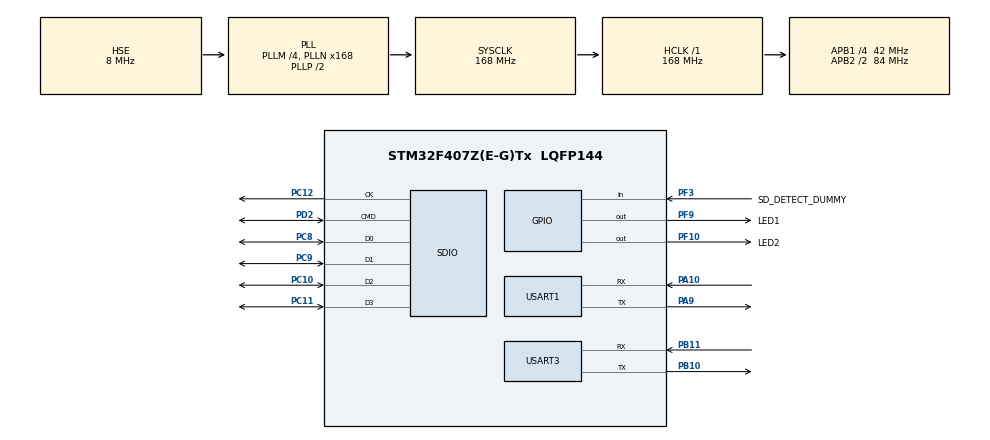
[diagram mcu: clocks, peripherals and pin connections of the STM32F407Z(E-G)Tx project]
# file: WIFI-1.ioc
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Dma.Request0=USART3_RX
Dma.Request1=USART3_TX
Dma.Request2=SDIO_RX
Dma.Request3=SDIO_TX
Dma.SDIO_RX.2.Direction=DMA_PERIPH_TO_MEMORY
Dma.SDIO_RX.2.FIFOMode=DMA_FIFOMODE_ENABLE
Dma.SDIO_RX.2.FIFOThreshold=DMA_FIFO_THRESHOLD_FULL
Dma.SDIO_RX.2.Instance=DMA2_Stream3
Dma.SDIO_RX.2.MemBurst=DMA_MBURST_INC4
Dma.SDIO_RX.2.MemDataAlignment=DMA_MDATAALIGN_WORD
Dma.SDIO_RX.2.MemInc=DMA_MINC_ENABLE
Dma.SDIO_RX.2.Mode=DMA_PFCTRL
Dma.SDIO_RX.2.PeriphBurst=DMA_PBURST_INC4
Dma.SDIO_RX.2.PeriphDataAlignment=DMA_PDATAALIGN_WORD
Dma.SDIO_RX.2.PeriphInc=DMA_PINC_DISABLE
Dma.SDIO_RX.2.Priority=DMA_PRIORITY_HIGH
Dma.SDIO_TX.3.Direction=DMA_MEMORY_TO_PERIPH
Dma.SDIO_TX.3.FIFOMode=DMA_FIFOMODE_ENABLE
Dma.SDIO_TX.3.FIFOThreshold=DMA_FIFO_THRESHOLD_FULL
Dma.SDIO_TX.3.Instance=DMA2_Stream6
Dma.SDIO_TX.3.MemBurst=DMA_MBURST_INC4
Dma.SDIO_TX.3.MemDataAlignment=DMA_MDATAALIGN_WORD
Dma.SDIO_TX.3.MemInc=DMA_MINC_ENABLE
Dma.SDIO_TX.3.Mode=DMA_PFCTRL
Dma.SDIO_TX.3.PeriphBurst=DMA_PBURST_INC4
Dma.SDIO_TX.3.PeriphDataAlignment=DMA_PDATAALIGN_WORD
Dma.SDIO_TX.3.PeriphInc=DMA_PINC_DISABLE
Dma.SDIO_TX.3.Priority=DMA_PRIORITY_HIGH
Dma.USART3_RX.0.Direction=DMA_PERIPH_TO_MEMORY
Dma.USART3_RX.0.FIFOMode=DMA_FIFOMODE_DISABLE
Dma.USART3_RX.0.Instance=DMA1_Stream1
Dma.USART3_RX.0.MemDataAlignment=DMA_MDATAALIGN_BYTE
Dma.USART3_RX.0.MemInc=DMA_MINC_ENABLE
Dma.USART3_RX.0.Mode=DMA_CIRCULAR
Dma.USART3_RX.0.PeriphDataAlignment=DMA_PDATAALIGN_BYTE
Dma.USART3_RX.0.PeriphInc=DMA_PINC_DISABLE
Dma.USART3_RX.0.Priority=DMA_PRIORITY_HIGH
Dma.USART3_TX.1.Direction=DMA_MEMORY_TO_PERIPH
Dma.USART3_TX.1.FIFOMode=DMA_FIFOMODE_DISABLE
Dma.USART3_TX.1.Instance=DMA1_Stream3
Dma.USART3_TX.1.MemDataAlignment=DMA_MDATAALIGN_BYTE
Dma.USART3_TX.1.MemInc=DMA_MINC_ENABLE
Dma.USART3_TX.1.Mode=DMA_NORMAL
Dma.USART3_TX.1.PeriphDataAlignment=DMA_PDATAALIGN_BYTE
Dma.USART3_TX.1.PeriphInc=DMA_PINC_DISABLE
Dma.USART3_TX.1.Priority=DMA_PRIORITY_MEDIUM
FATFS.BSP.number=1
FATFS._FS_REENTRANT=0
FATFS._USE_FASTSEEK=1
FATFS0.BSP.STBoard=false
FATFS0.BSP.api=Unknown
FATFS0.BSP.instance=PF3
FATFS0.BSP.ip=GPIO
FATFS0.BSP.mode=Input
FATFS0.BSP.name=Detect_SDIO
FATFS0.BSP.solution=PF3
FREERTOS.Tasks01=defaultTask,24,2048,StartDefaultTask,Default,NULL,Dynamic,NULL,NULL
Mcu.Family=STM32F4
Mcu.Name=STM32F407Z(E-G)Tx
Mcu.Package=LQFP144
NVIC.DMA1_Stream1_IRQn=true\:5\:0\:false\:false\:true\:true\:false\:true\:true
NVIC.DMA1_Stream3_IRQn=true\:5\:0\:false\:false\:true\:true\:false\:true\:true
NVIC.DMA2_Stream3_IRQn=true\:5\:0\:false\:false\:true\:true\:false\:true\:true
NVIC.DMA2_Stream6_IRQn=true\:5\:0\:false\:false\:true\:true\:false\:true\:true
NVIC.PriorityGroup=NVIC_PRIORITYGROUP_4
NVIC.SDIO_IRQn=true\:5\:0\:false\:false\:true\:true\:true\:true\:true
NVIC.TIM6_DAC_IRQn=true\:15\:0\:false\:false\:true\:false\:false\:true\:true
NVIC.TimeBase=TIM6_DAC_IRQn
NVIC.TimeBaseIP=TIM6
NVIC.USART3_IRQn=true\:5\:0\:false\:false\:true\:true\:true\:true\:true
PA10.Mode=Asynchronous
PA10.Signal=USART1_RX
PA9.Mode=Asynchronous
PA9.Signal=USART1_TX
PB10.Mode=Asynchronous
PB10.Signal=USART3_TX
PB11.Mode=Asynchronous
PB11.Signal=USART3_RX
PC10.Mode=SD_4_bits_Wide_bus
PC10.Signal=SDIO_D2
PC11.Mode=SD_4_bits_Wide_bus
PC11.Signal=SDIO_D3
PC12.Mode=SD_4_bits_Wide_bus
PC12.Signal=SDIO_CK
PC14-OSC32_IN.Mode=LSE-External-Oscillator
PC14-OSC32_IN.Signal=RCC_OSC32_IN
PC15-OSC32_OUT.Mode=LSE-External-Oscillator
PC15-OSC32_OUT.Signal=RCC_OSC32_OUT
PC8.Mode=SD_4_bits_Wide_bus
PC8.Signal=SDIO_D0
PC9.Mode=SD_4_bits_Wide_bus
PC9.Signal=SDIO_D1
PD2.Mode=SD_4_bits_Wide_bus
PD2.Signal=SDIO_CMD
PF10.GPIO_Label=LED2
PF10.GPIO_PuPd=GPIO_PULLUP
PF10.PinState=GPIO_PIN_SET
PF10.Signal=GPIO_Output
PF3.GPIO_Label=SD_DETECT_DUMMY
PF3.Signal=GPIO_Input
PF9.GPIO_Label=LED1
PF9.GPIO_PuPd=GPIO_PULLUP
PF9.PinState=GPIO_PIN_SET
PF9.Signal=GPIO_Output
PH0-OSC_IN.Mode=HSE-External-Oscillator
PH0-OSC_IN.Signal=RCC_OSC_IN
PH1-OSC_OUT.Mode=HSE-External-Oscillator
PH1-OSC_OUT.Signal=RCC_OSC_OUT
ProjectManager.HeapSize=0x200
ProjectManager.StackSize=0x400
ProjectManager.TargetToolchain=MDK-ARM V5.32
RCC.48MHZClocksFreq_Value=48000000
RCC.AHBFreq_Value=168000000
RCC.APB1CLKDivider=RCC_HCLK_DIV4
RCC.APB1Freq_Value=42000000
RCC.APB1TimFreq_Value=84000000
RCC.APB2CLKDivider=RCC_HCLK_DIV2
RCC.APB2Freq_Value=84000000
RCC.APB2TimFreq_Value=168000000
RCC.CortexFreq_Value=168000000
RCC.HCLKFreq_Value=168000000
RCC.HSE_VALUE=8000000
RCC.HSI_VALUE=16000000
RCC.PLLM=4
RCC.PLLN=168
RCC.PLLQ=7
RCC.PLLSourceVirtual=RCC_PLLSOURCE_HSE
RCC.SYSCLKFreq_VALUE=168000000
RCC.SYSCLKSource=RCC_SYSCLKSOURCE_PLLCLK
RCC.VCOOutputFreq_Value=336000000
USART1.VirtualMode=VM_ASYNC
USART3.VirtualMode=VM_ASYNC
VP_FATFS_VS_SDIO.Mode=SDIO
VP_FREERTOS_VS_CMSIS_V2.Mode=CMSIS_V2
VP_SYS_VS_tim6.Mode=TIM6
board=custom

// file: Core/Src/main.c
/* USER CODE BEGIN Header */
/**
  ******************************************************************************
  * @file           : main.c
  * @brief          : Main program body
  ******************************************************************************
  * @attention
  *
  * Copyright (c) 2026 STMicroelectronics.
  * All rights reserved.
  *
  * This software is licensed under terms that can be found in the LICENSE file
  * in the root directory of this software component.
  * If no LICENSE file comes with this software, it is provided AS-IS.
  *
  ******************************************************************************
  */
/* USER CODE END Header */
#include "main.h"
#include "cmsis_os.h"
#include "dma.h"
#include "fatfs.h"
#include "sdio.h"
#include "usart.h"
#include "gpio.h"

/* USER CODE BEGIN Includes */
#include "esp32.h"
#include "app_trial.h"
#include <stdio.h>
/* USER CODE END Includes */

void SystemClock_Config(void);
void MX_FREERTOS_Init(void);

int main(void)
{

  /* MCU Configuration--------------------------------------------------------*/

  /* Reset of all peripherals, Initializes the Flash interface and the Systick. */
  HAL_Init();

  /* USER CODE BEGIN Init */

  /*
   * Earliest hardware checkpoint: configure both active-low board LEDs
   * before SystemClock_Config().  If the clock setup fails later, the LEDs
   * still remain on and prove that the downloaded program has started.
   */
  __HAL_RCC_GPIOF_CLK_ENABLE();
  GPIO_InitTypeDef early_led_gpio = {0};
  early_led_gpio.Pin = LED1_Pin | LED2_Pin;
  early_led_gpio.Mode = GPIO_MODE_OUTPUT_PP;
  early_led_gpio.Pull = GPIO_NOPULL;
  early_led_gpio.Speed = GPIO_SPEED_FREQ_LOW;
  HAL_GPIO_WritePin(GPIOF, LED1_Pin | LED2_Pin, GPIO_PIN_RESET);
  HAL_GPIO_Init(GPIOF, &early_led_gpio);

  /* USER CODE END Init */

  /* Configure the system clock */
  SystemClock_Config();

  /* Initialize all configured peripherals */
  MX_GPIO_Init();
  MX_DMA_Init();
  MX_SDIO_SD_Init();
  MX_FATFS_Init();
  MX_USART1_UART_Init();
  MX_USART3_UART_Init();
  /* USER CODE BEGIN 2 */
  /* Both board LEDs are active low. Keep them on before starting the RTOS. */
  HAL_GPIO_WritePin(GPIOF, LED1_Pin | LED2_Pin, GPIO_PIN_RESET);

  ESP32_AT_Init();
  App_TrialInit();
  /* USER CODE END 2 */

  /* Init scheduler */
  osKernelInitialize();  /* Call init function for freertos objects (in cmsis_os2.c) */
  MX_FREERTOS_Init();

  /* Start scheduler */
  osKernelStart();

  /* We should never get here as control is now taken by the scheduler */

  /* Infinite loop */
  while (1)
  {

  }
}

void SystemClock_Config(void)
{
  RCC_OscInitTypeDef RCC_OscInitStruct = {0};
  RCC_ClkInitTypeDef RCC_ClkInitStruct = {0};

  /** Configure the main internal regulator output voltage
  */
  __HAL_RCC_PWR_CLK_ENABLE();
  __HAL_PWR_VOLTAGESCALING_CONFIG(PWR_REGULATOR_VOLTAGE_SCALE1);

  /** Initializes the RCC Oscillators according to the specified parameters
  * in the RCC_OscInitTypeDef structure.
  */
  RCC_OscInitStruct.OscillatorType = RCC_OSCILLATORTYPE_HSE;
  RCC_OscInitStruct.HSEState = RCC_HSE_ON;
  RCC_OscInitStruct.PLL.PLLState = RCC_PLL_ON;
  RCC_OscInitStruct.PLL.PLLSource = RCC_PLLSOURCE_HSE;
  RCC_OscInitStruct.PLL.PLLM = 4;
  RCC_OscInitStruct.PLL.PLLN = 168;
  RCC_OscInitStruct.PLL.PLLP = RCC_PLLP_DIV2;
  RCC_OscInitStruct.PLL.PLLQ = 7;
  if (HAL_RCC_OscConfig(&RCC_OscInitStruct) != HAL_OK)
  {
    Error_Handler();
  }

  /** Initializes the CPU, AHB and APB buses clocks
  */
  RCC_ClkInitStruct.ClockType = RCC_CLOCKTYPE_HCLK|RCC_CLOCKTYPE_SYSCLK
                              |RCC_CLOCKTYPE_PCLK1|RCC_CLOCKTYPE_PCLK2;
  RCC_ClkInitStruct.SYSCLKSource = RCC_SYSCLKSOURCE_PLLCLK;
  RCC_ClkInitStruct.AHBCLKDivider = RCC_SYSCLK_DIV1;
  RCC_ClkInitStruct.APB1CLKDivider = RCC_HCLK_DIV4;
  RCC_ClkInitStruct.APB2CLKDivider = RCC_HCLK_DIV2;

  if (HAL_RCC_ClockConfig(&RCC_ClkInitStruct, FLASH_LATENCY_5) != HAL_OK)
  {
    Error_Handler();
  }
}

void HAL_TIM_PeriodElapsedCallback(TIM_HandleTypeDef *htim)
{
  if (htim->Instance == TIM6)
  {
    HAL_IncTick();
  }
}

void Error_Handler(void)
{
  __disable_irq();
  while (1)
  {
  }
}

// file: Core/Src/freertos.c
/* USER CODE BEGIN Header */
/**
 ******************************************************************************
 * File Name          : freertos.c
 * Description        : Code for freertos applications
 ******************************************************************************
 * @attention
 *
 * Copyright (c) 2026 STMicroelectronics.
 * All rights reserved.
 *
 * This software is licensed under terms that can be found in the LICENSE file
 * in the root directory of this software component.
 * If no LICENSE file comes with this software, it is provided AS-IS.
 *
 ******************************************************************************
 */
/* USER CODE END Header */

#include "FreeRTOS.h"
#include "task.h"
#include "main.h"
#include "cmsis_os.h"

/* USER CODE BEGIN Includes */
#include "esp32.h"
#include "application/esp32_network.h"
#include "storage_service.h"
#include "data_producer.h"
#include "uplink_manager.h"
#include "app_trial.h"
#include <stdio.h>
/* USER CODE END Includes */

/* USER CODE BEGIN Variables */

osThreadId_t StorageTaskHandle;
const osThreadAttr_t StorageTask_attributes = {
  .name = "StorageTask",
  /* FatFs调用链和FIL局部对象占栈较多，保留足够余量。 */
  .stack_size = 1024 * 4,
  .priority = (osPriority_t) osPriorityNormal,
};

osThreadId_t DataProducerTaskHandle;
const osThreadAttr_t DataProducerTask_attributes = {
  .name = "DataProducerTask",
  .stack_size = 512 * 4,
  .priority = (osPriority_t) osPriorityNormal,
};
/* USER CODE END Variables */
/* Definitions for defaultTask */
osThreadId_t defaultTaskHandle;
const osThreadAttr_t defaultTask_attributes = {
  .name = "defaultTask",
  .stack_size = 2048 * 4,
  .priority = (osPriority_t) osPriorityNormal,
};

/* USER CODE BEGIN FunctionPrototypes */

 void StorageTask(void *argument);
 void DataProducerTask(void *argument);
/* USER CODE END FunctionPrototypes */

void StartDefaultTask(void *argument);

void MX_FREERTOS_Init(void); /* (MISRA C 2004 rule 8.1) */

void MX_FREERTOS_Init(void) {
  /* USER CODE BEGIN Init */
  StorageService_Init();
  UplinkManager_Init();
  /* USER CODE END Init */

  /* Create the thread(s) */
  /* creation of defaultTask */
  defaultTaskHandle = osThreadNew(StartDefaultTask, NULL, &defaultTask_attributes);

  /* USER CODE BEGIN RTOS_THREADS */
  /* add threads, ... */
  StorageTaskHandle = osThreadNew(StorageTask,NULL,&StorageTask_attributes);
  DataProducerTaskHandle = osThreadNew(DataProducerTask,NULL,&DataProducerTask_attributes);
  /* USER CODE END RTOS_THREADS */

}

/* USER CODE BEGIN Header_StartDefaultTask */
/**
 * @brief  Function implementing the defaultTask thread.
 * @param  argument: Not used
 * @retval None
 */

void StorageTask(void *argument)
{
    (void)argument;

    /* StorageTask是FatFs的唯一拥有者，此函数正常情况下不会返回。 */
    StorageService_Run();
}

void DataProducerTask(void *argument)
{
    (void)argument;

    /* 数据产生独立于网络状态：每张帧先记录，再尝试进入实时发送队列。 */
    /* 当前由Uplink Manager选择Wi-Fi实时发送或在不可用时转存SD。 */
    DataProducer_Run();
}
/* USER CODE END Header_StartDefaultTask */
void StartDefaultTask(void *argument)
{
  /* USER CODE BEGIN StartDefaultTask */
  (void)argument;

  printf("\r\nESP32 AT: USART3 PB10/PB11, 115200 8N1\r\n");
  /* 给ESP32预留完整上电启动时间。 */
  osDelay(3000U);

  /* FreeRTOS只负责调度，Wi-Fi/TCP状态机由应用层管理。 */
  ESP32_Network_Init();

  for (;;)
  {
    ESP32_Network_Run();
    App_TrialProcess();
  }

  /* USER CODE END StartDefaultTask */
}
